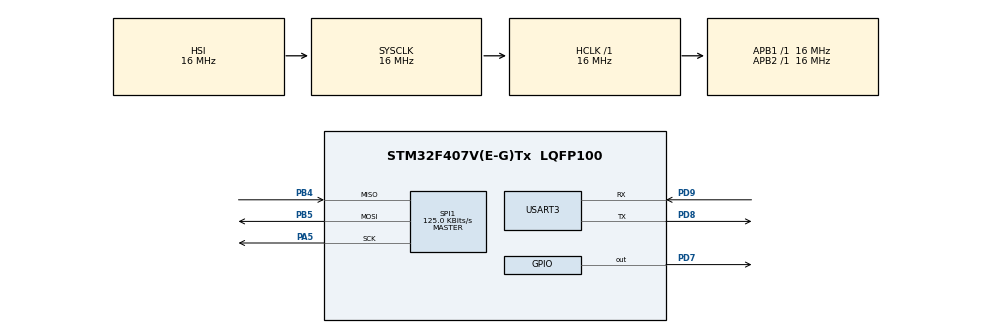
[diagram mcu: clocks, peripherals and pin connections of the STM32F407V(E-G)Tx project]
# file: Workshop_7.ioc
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Mcu.Family=STM32F4
Mcu.Name=STM32F407V(E-G)Tx
Mcu.Package=LQFP100
NVIC.PriorityGroup=NVIC_PRIORITYGROUP_4
PA13.Mode=Serial_Wire
PA13.Signal=SYS_JTMS-SWDIO
PA14.Mode=Serial_Wire
PA14.Signal=SYS_JTCK-SWCLK
PA5.Mode=Full_Duplex_Master
PA5.Signal=SPI1_SCK
PB4.Mode=Full_Duplex_Master
PB4.Signal=SPI1_MISO
PB5.Mode=Full_Duplex_Master
PB5.Signal=SPI1_MOSI
PD7.Signal=GPIO_Output
PD8.Mode=Asynchronous
PD8.Signal=USART3_TX
PD9.Mode=Asynchronous
PD9.Signal=USART3_RX
ProjectManager.HeapSize=0x200
ProjectManager.StackSize=0x400
ProjectManager.TargetToolchain=STM32CubeIDE
RCC.AHBFreq_Value=16000000
RCC.APB1Freq_Value=16000000
RCC.APB2Freq_Value=16000000
RCC.CortexFreq_Value=16000000
RCC.HSE_VALUE=25000000
RCC.HSI_VALUE=16000000
RCC.LSE_VALUE=32768
RCC.SYSCLKFreq_VALUE=16000000
RCC.VCOOutputFreq_Value=192000000
SPI1.BaudRatePrescaler=SPI_BAUDRATEPRESCALER_128
SPI1.CLKPolarity=SPI_POLARITY_LOW
SPI1.CalculateBaudRate=125.0 KBits/s
SPI1.Direction=SPI_DIRECTION_2LINES
SPI1.Mode=SPI_MODE_MASTER
SPI1.VirtualType=VM_MASTER
USART3.VirtualMode=VM_ASYNC
board=custom

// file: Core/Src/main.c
/* USER CODE BEGIN Header */
/**
  ******************************************************************************
  * @file           : main.c
  * @brief          : Main program body
  ******************************************************************************
  * @attention
  *
  * <h2><center>&copy; Copyright (c) 2021 STMicroelectronics.
  * All rights reserved.</center></h2>
  *
  * This software component is licensed by ST under BSD 3-Clause license,
  * the "License"; You may not use this file except in compliance with the
  * License. You may obtain a copy of the License at:
  *                        opensource.org/licenses/BSD-3-Clause
  *
  ******************************************************************************
  */
/* USER CODE END Header */
#include "main.h"

/* USER CODE BEGIN Includes */
#include "string.h"
/* USER CODE END Includes */

/* USER CODE BEGIN PD */
const uint8_t READ			=	0x03;
const uint8_t CHIP_ERASE	=	0x60;
const uint8_t BYTE_PROG		=	0x02;
const uint8_t RDSR			=	0x05;
const uint8_t EWSR			=	0x50;
const uint8_t WRSR			=	0x01;
const uint8_t WREN			=	0x06;
const uint8_t WRDI			=	0x04;
const uint8_t AAI			=	0xAD;
const uint8_t EBSY			=	0x70;
const uint8_t DBSY			=	0x80;
#define STR_NUM		10
#define STR_LEN		100
/* USER CODE END PD */

SPI_HandleTypeDef hspi1;

UART_HandleTypeDef huart3;

/* USER CODE BEGIN PV */
enum {
	Read,
	Write
};

enum {
	ON,
	OFF
};

uint32_t StartAddress;

uint8_t time_capsule[STR_NUM][STR_LEN] = {
		"From: Artem Shyshko, mr.artemshishko18@gmail.com\r",
		"Mentor: Daniil Ruban, daniil.ruban@globallogic.com\r",
		"Date: 03.12.21\r",
		"TIME CAPSULE              \r",
		"Through the darkness      \r",
		"Of future past            \r",
		"The magician longs to see \r",
		"One chance out            \r",
		"Between two worlds        \r",
		"Fire walk with me         \r",
};

int _write(int file, char *ptr, int len) {
  HAL_UART_Transmit(&huart3, (uint8_t*) ptr, len, 10);
  return len;
}
/* USER CODE END PV */

void SystemClock_Config(void);
static void MX_GPIO_Init(void);
static void MX_SPI1_Init(void);
static void MX_USART3_UART_Init(void);
/* USER CODE BEGIN PFP */

void CE(_Bool State);
void WriteStatusRegister(void);
void WriteEnable(void);
void WriteDisable(void);
void EraseMem(void);
void AAIEnable(void);
void AAIDisable(void);
uint8_t ReadStatusRegister(void);
uint8_t AddressByte(uint8_t byte, uint32_t adr);
void WaitForBuisyBit(void);
void WriteStringAAI(uint32_t adr, uint8_t string[], uint16_t lenght);
void WriteTimeCapsule(uint8_t info[STR_NUM][STR_LEN]);
void ReadTimeCapsule(void);

/* USER CODE END PFP */

/* USER CODE BEGIN 0 */

void CE(_Bool State){
	HAL_GPIO_WritePin(GPIOD, GPIO_PIN_7, State);
}

void WriteStatusRegister(){
	CE(ON);
	HAL_SPI_Transmit(&hspi1, (uint8_t*) &EWSR, 1, 100);
	CE(OFF);

	uint8_t tx[2] = {WRSR, 0x00};
	CE(ON);
	HAL_SPI_Transmit(&hspi1, (uint8_t*) &tx, 2, 100);
	CE(OFF);
}

void WriteEnable(){
	CE(ON);
	HAL_SPI_Transmit(&hspi1, (uint8_t*) &WREN, 1, 100);
	CE(OFF);
}

void WriteDisable(){
	CE(ON);
	HAL_SPI_Transmit(&hspi1, (uint8_t*) &WRDI, 1, 100);
	CE(OFF);
}

void EraseMem(void){
	CE(OFF);

	WriteStatusRegister();

	WriteEnable();

	CE(ON);
	HAL_SPI_Transmit(&hspi1, (uint8_t*) &CHIP_ERASE, 1, 100);
	CE(OFF);

	WriteDisable();
}

void AAIEnable(){
	WriteStatusRegister();

	CE(ON);
	HAL_SPI_Transmit(&hspi1, (uint8_t*) &EBSY, 1, 100);
	CE(OFF);

	WriteEnable();
}

void AAIDisable(){
	CE(ON);
	HAL_SPI_Transmit(&hspi1, (uint8_t*) &DBSY, 1, 100);
	CE(OFF);
}

uint8_t ReadStatusRegister(void){
  uint8_t status[2];
  uint8_t buffer[2] = {RDSR, 0x00};
  CE(ON);
  HAL_SPI_TransmitReceive(&hspi1, (uint8_t*) &buffer, (uint8_t*) &status, 2, 100);
  CE(OFF);
  return status[1];
}

uint8_t AddressByte(uint8_t byte, uint32_t adr){
  uint8_t temp;
  switch(byte)
  {
    case 1:
      temp = (uint8_t)(adr >> 16);
      return temp;
      break;
    case 2:
      temp = (uint8_t)(adr >> 8);
      return temp;
      break;
    case 3:
      temp = (uint8_t)adr;
      return temp;
      break;
  }
  return 0;
}

void WaitForBuisyBit(void){
  CE(ON);
  while (!HAL_GPIO_ReadPin(GPIOB, GPIO_PIN_4));
  CE(OFF);
}

void WriteStringAAI(uint32_t adr, uint8_t string[], uint16_t lenght){
  AAIEnable();

  CE(ON);
  uint8_t tx[] = { AAI, AddressByte(1, adr), AddressByte(2, adr), AddressByte(3, adr), string[0], string[1]};
  HAL_SPI_Transmit(&hspi1, tx, sizeof(tx), 100);
  CE(OFF);
  WaitForBuisyBit();

  for (uint8_t i = 2; i <= lenght; i += 2)
  {
    CE(ON);
    uint8_t tx[] = { AAI, string[i], string[i+1]};
    HAL_SPI_Transmit(&hspi1, (uint8_t*) &tx, sizeof(tx), 100);
    CE(OFF);

    WaitForBuisyBit();
  }

  WriteDisable();

  AAIDisable();
}

void WriteTimeCapsule(uint8_t info[STR_NUM][STR_LEN]){

	for(uint8_t i = 0; i < STR_NUM; i++)
    	{
			uint8_t CurrentStringBuffer[STR_LEN] = {0};
			strcpy( (char*)  CurrentStringBuffer,(char*)  &info[i][0]);
			WriteStringAAI(StartAddress, (uint8_t*) &CurrentStringBuffer, STR_LEN);
			StartAddress += 4096;
    	}

	StartAddress = 0x00;
}

void ReadTimeCapsule(void){
  uint8_t Buff[STR_LEN] = {0};
  for(uint8_t i = 0; i < STR_NUM; i++)
  {
    uint8_t ReadCommand[4] = {READ, AddressByte(1, StartAddress), AddressByte(2, StartAddress), AddressByte(3, StartAddress)};
    CE(ON);
    HAL_SPI_Transmit(&hspi1, ReadCommand, sizeof(ReadCommand), 100);
    HAL_SPI_Receive(&hspi1, Buff, sizeof(Buff), 100);
    CE(OFF);
    while (ReadStatusRegister() & 0x01) {};
    for(uint8_t j = 0; j < STR_LEN; j++)
      if(Buff[j] == 0xFF)	Buff[j] = 0x00;
    HAL_UART_Transmit(&huart3, Buff, sizeof(Buff), 100);
    HAL_UART_Transmit(&huart3, (uint8_t*) "\n\r", 2, 50);
    StartAddress += 4096;
  }
  StartAddress = 0x00;
}

/* USER CODE END 0 */

int main(void)
{

  /* MCU Configuration--------------------------------------------------------*/

  /* Reset of all peripherals, Initializes the Flash interface and the Systick. */
  HAL_Init();

  /* Configure the system clock */
  SystemClock_Config();

  /* Initialize all configured peripherals */
  MX_GPIO_Init();
  MX_SPI1_Init();
  MX_USART3_UART_Init();

  /* Infinite loop */
  /* USER CODE BEGIN WHILE */

  HAL_StatusTypeDef status ;
  uint16_t val;

  while (1)
  {
	  status = HAL_UART_Receive(&huart3, (uint8_t*) &val, 1, 10);
	  if (status == HAL_OK) {
	          switch (val) {
	            case '1':
	              EraseMem();
	              HAL_UART_Transmit(&huart3, (uint8_t*) "Entire memory was erased\r\n\n", 27, 50);
	              break;
	            case '2':
	              EraseMem();
	                WriteTimeCapsule(time_capsule);
	                HAL_UART_Transmit(&huart3, (uint8_t*) "The time capsule was recorded\r\n\n",32, 50);
	              break;
	            case '3':
	              HAL_UART_Transmit(&huart3, (uint8_t*) "The time capsule:\r\n",19, 50);
	              ReadTimeCapsule();
	              HAL_UART_Transmit(&huart3, (uint8_t*) "\r\n",2, 50);
	              break;
	            default:
	              break;
	            }
	          }
    /* USER CODE END WHILE */

  }
}

void SystemClock_Config(void)
{
  RCC_OscInitTypeDef RCC_OscInitStruct = {0};
  RCC_ClkInitTypeDef RCC_ClkInitStruct = {0};

  /** Configure the main internal regulator output voltage
  */
  __HAL_RCC_PWR_CLK_ENABLE();
  __HAL_PWR_VOLTAGESCALING_CONFIG(PWR_REGULATOR_VOLTAGE_SCALE1);
  /** Initializes the RCC Oscillators according to the specified parameters
  * in the RCC_OscInitTypeDef structure.
  */
  RCC_OscInitStruct.OscillatorType = RCC_OSCILLATORTYPE_HSI;
  RCC_OscInitStruct.HSIState = RCC_HSI_ON;
  RCC_OscInitStruct.HSICalibrationValue = RCC_HSICALIBRATION_DEFAULT;
  RCC_OscInitStruct.PLL.PLLState = RCC_PLL_NONE;
  if (HAL_RCC_OscConfig(&RCC_OscInitStruct) != HAL_OK)
  {
    Error_Handler();
  }
  /** Initializes the CPU, AHB and APB buses clocks
  */
  RCC_ClkInitStruct.ClockType = RCC_CLOCKTYPE_HCLK|RCC_CLOCKTYPE_SYSCLK
                              |RCC_CLOCKTYPE_PCLK1|RCC_CLOCKTYPE_PCLK2;
  RCC_ClkInitStruct.SYSCLKSource = RCC_SYSCLKSOURCE_HSI;
  RCC_ClkInitStruct.AHBCLKDivider = RCC_SYSCLK_DIV1;
  RCC_ClkInitStruct.APB1CLKDivider = RCC_HCLK_DIV1;
  RCC_ClkInitStruct.APB2CLKDivider = RCC_HCLK_DIV1;

  if (HAL_RCC_ClockConfig(&RCC_ClkInitStruct, FLASH_LATENCY_0) != HAL_OK)
  {
    Error_Handler();
  }
}

static void MX_SPI1_Init(void)
{

  /* SPI1 parameter configuration*/
  hspi1.Instance = SPI1;
  hspi1.Init.Mode = SPI_MODE_MASTER;
  hspi1.Init.Direction = SPI_DIRECTION_2LINES;
  hspi1.Init.DataSize = SPI_DATASIZE_8BIT;
  hspi1.Init.CLKPolarity = SPI_POLARITY_LOW;
  hspi1.Init.CLKPhase = SPI_PHASE_1EDGE;
  hspi1.Init.NSS = SPI_NSS_SOFT;
  hspi1.Init.BaudRatePrescaler = SPI_BAUDRATEPRESCALER_128;
  hspi1.Init.FirstBit = SPI_FIRSTBIT_MSB;
  hspi1.Init.TIMode = SPI_TIMODE_DISABLE;
  hspi1.Init.CRCCalculation = SPI_CRCCALCULATION_DISABLE;
  hspi1.Init.CRCPolynomial = 10;
  if (HAL_SPI_Init(&hspi1) != HAL_OK)
  {
    Error_Handler();
  }

}

static void MX_USART3_UART_Init(void)
{

  huart3.Instance = USART3;
  huart3.Init.BaudRate = 115200;
  huart3.Init.WordLength = UART_WORDLENGTH_8B;
  huart3.Init.StopBits = UART_STOPBITS_1;
  huart3.Init.Parity = UART_PARITY_NONE;
  huart3.Init.Mode = UART_MODE_TX_RX;
  huart3.Init.HwFlowCtl = UART_HWCONTROL_NONE;
  huart3.Init.OverSampling = UART_OVERSAMPLING_16;
  if (HAL_UART_Init(&huart3) != HAL_OK)
  {
    Error_Handler();
  }

}

static void MX_GPIO_Init(void)
{
  GPIO_InitTypeDef GPIO_InitStruct = {0};

  /* GPIO Ports Clock Enable */
  __HAL_RCC_GPIOA_CLK_ENABLE();
  __HAL_RCC_GPIOD_CLK_ENABLE();
  __HAL_RCC_GPIOB_CLK_ENABLE();

  /*Configure GPIO pin Output Level */
  HAL_GPIO_WritePin(GPIOD, GPIO_PIN_7, GPIO_PIN_RESET);

  /*Configure GPIO pin : PD7 */
  GPIO_InitStruct.Pin = GPIO_PIN_7;
  GPIO_InitStruct.Mode = GPIO_MODE_OUTPUT_PP;
  GPIO_InitStruct.Pull = GPIO_NOPULL;
  GPIO_InitStruct.Speed = GPIO_SPEED_FREQ_LOW;
  HAL_GPIO_Init(GPIOD, &GPIO_InitStruct);

}

void Error_Handler(void)
{
  __disable_irq();
  while (1)
  {
  }
}

/************************ (C) COPYRIGHT STMicroelectronics *****END OF FILE****/
